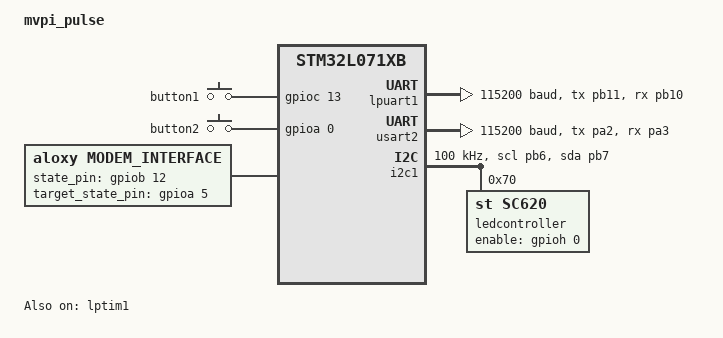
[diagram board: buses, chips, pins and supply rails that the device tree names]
/dts-v1/;
#include <st/l0/stm32l071Xb.dtsi>
#include <st/l0/stm32l071c(b-z)tx-pinctrl.dtsi>
// #include "mvpi_pulse_STM32L071-pinctrl.dtsi"
// #include <zephyr/dt-bindings/input/input-event-codes.h>

/ {
	model = "mvpi_pulse";
	compatible = "aloxy,mvpi_pulse";

	// aliases {
		//     spi-flash0 = &spi1;
	// };

	chosen {
		zephyr,console = &usart2;
		zephyr,shell-uart = &lpuart1;
		zephyr,sram = &sram0;
		zephyr,flash = &flash0;
	};

	gpio_keys {
		compatible = "gpio-keys";
		button1: button1 {
			gpios = <&gpioc 13 GPIO_ACTIVE_HIGH>;
		};
		button2: button2 {
			gpios = <&gpioa 0 GPIO_ACTIVE_HIGH>;
		};
		// mcu2modemint: mcu2modemint{
			//     gpios = <&gpiob 12 GPIO_ACTIVE_HIGH>;
		// };
		// modem2mcuint: modem2mcuint{
			//     gpios = <&gpioa 5 GPIO_ACTIVE_HIGH>;
		// };
		// nrst: nrst {
			//     gpios = <&gpioa 4 GPIO_ACTIVE_HIGH>;
		// };
	};

	modem_interface {
		compatible = "aloxy,modem_interface";
		state_pin-gpios = <&gpiob 12 GPIO_ACTIVE_HIGH>;
		target_state_pin-gpios = <&gpioa 5 GPIO_ACTIVE_HIGH>;
		status = "okay";
	};
};

&lpuart1 {
	pinctrl-0 = <&lpuart1_tx_pb11 &lpuart1_rx_pb10>;
	pinctrl-1 = <&analog_pb10 &analog_pb11>;
	pinctrl-names = "default", "sleep";
	current-speed = <115200>;
	status = "okay";

	dmas = <&dma1 2 5 (STM32_DMA_PERIPH_TX | STM32_DMA_PRIORITY_HIGH)>,
	       <&dma1 3 5 (STM32_DMA_PERIPH_RX | STM32_DMA_PRIORITY_HIGH)>;
	dma-names = "tx", "rx";
};

&usart2 {
	pinctrl-0 = <&usart2_tx_pa2 &usart2_rx_pa3>;
	pinctrl-names = "default";
	current-speed = <115200>;
	status = "okay";
};

// &spi1 {
	//     status = "okay";
	//     pinctrl-0 = <&spi1_MOSI_pb5 &spi1_MISO_pb4>;
	//     pinctrl-names = "default";
	//     spi_flash: mx25r8035f@0 {
		//         compatible = "jedec,spi-nor";
		//         reg = <0>;
		//         spi-max-frequency = <80000000>;
		//         jedec-id = [ c2 28 14  ];
		//         size = <DT_SIZE_M(1)>; /* 8 Mbits (1MB) */
		//         // reset-gpios = <&gpiod 3 GPIO_ACTIVE_LOW>;
		//         // reset-gpios-duration = <1>;
		//         // spi-bus-width = <4>;
		//         status = "okay";
	//     };
// };

// &spi2 {
	//     pinctrl-0 = <&spi2_nss_pb12 &spi2_sck_pb13
	//              &spi2_miso_pb14 &spi2_mosi_pb15>;
	//     pinctrl-names = "default";
	//     status = "okay";
// };

&i2c1 {
	pinctrl-0 = <&i2c1_scl_pb6 &i2c1_sda_pb7>;
	pinctrl-names = "default";
	status = "okay";
	clock-frequency = <I2C_BITRATE_STANDARD>;

	ledcontroller: sc620@70 {
		compatible = "st,sc620";
		status = "okay";
		reg = <0x70>;
		enable-gpios = <&gpioh 0 GPIO_ACTIVE_HIGH>;
		brightness = <0x3F>;

		led0: led_0 {
			idx_red = <3>;
			idx_green = <0>;
		};

		led1: led_1 {
			idx_red = <4>;
			idx_green = <5>;
		};
	};
};

&clk_lse {
	status = "okay";
};

// &clk_hsi48 {
	//         status = "okay";
// };

&dma1 {
	status = "okay";
	// dma-channels = <7>;
};

&clk_hsi {
	status = "okay";
};

&pll {
	div = <2>;
	mul = <4>;
	clocks = <&clk_hsi>;
	status = "okay";
};

&rcc {
	clocks = <&pll>;
	clock-frequency = <DT_FREQ_M(32)>;
	ahb-prescaler = <1>;
	apb1-prescaler = <1>;
	apb2-prescaler = <1>;
};

stm32_lp_tick_source: &lptim1 {
	status = "okay";
};

&flash0 {
	partitions {
		compatible = "fixed-partitions";
		#address-cells = <1>;
		#size-cells = <1>;

		/* Set aside 32KiB for data at the end of the 192KiB flash */
		storage_partition: partition@28000 {
			label = "storage";
			reg = <0x00028000 DT_SIZE_K(32)>;
		};
	};
};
